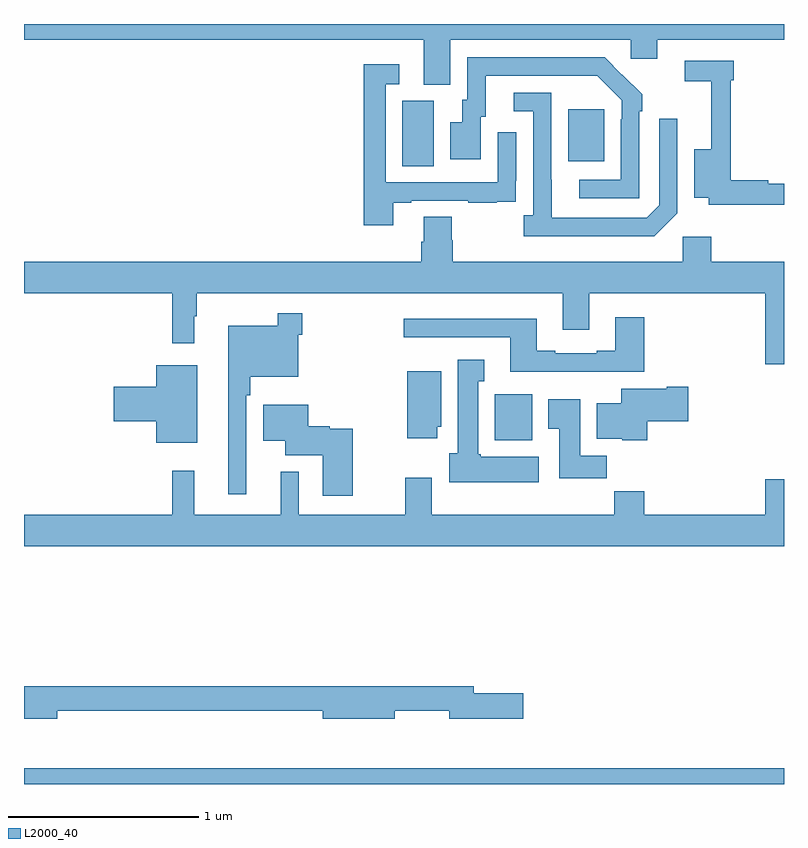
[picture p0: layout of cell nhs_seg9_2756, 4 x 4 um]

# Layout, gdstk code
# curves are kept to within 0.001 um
import gdstk
lib = gdstk.Library(unit=1e-6, precision=1e-09)
def R(c, l, rs):  # rectangles x0, y0, x1, y1
    for r in rs: c.add(gdstk.rectangle(r[:2], r[2:], *l))
def P(c, l, *ps):  # polygons
    for p in ps: c.add(gdstk.Polygon(p, *l))
L2000_40 = (2000, 40)

nhs_seg9_2756 = lib.new_cell('nhs_seg9_2756')
R(nhs_seg9_2756, L2000_40, [(269,1196.5,273,1196.584), (271.478,1198.31,271.675,1198.552), (270.992,1199.752,271.156,1200.096), (271.865,1199.777,272.053,1200.052)])
P(nhs_seg9_2756, L2000_40, [(273,1200.5),(269,1200.5),(269,1200.416),(271.103,1200.416),(271.103,1200.181),(271.243,1200.181),(271.243,1200.416),(272.193,1200.416),(272.193,1200.318),(272.332,1200.318),(272.332,1200.416),(273,1200.416)],
  [(272.238,1200.041),(272.253,1200.041),(272.253,1200.129),(272.056,1200.324),(271.332,1200.324),(271.332,1200.102),(271.307,1200.102),(271.307,1199.983),(271.244,1199.983),(271.244,1199.787),(271.405,1199.787),(271.405,1200.012),(271.429,1200.012),(271.429,1200.228),(272.017,1200.228),(272.145,1200.099),(272.145,1199.999),(272.142,1199.999),(272.142,1199.679),(271.923,1199.679),(271.923,1199.583),(272.238,1199.583)],
  [(273,1199.658),(272.918,1199.658),(272.918,1199.678),(272.72,1199.678),(272.72,1200.203),(272.735,1200.203),(272.735,1200.306),(272.478,1200.306),(272.478,1200.198),(272.618,1200.198),(272.618,1199.842),(272.528,1199.842),(272.528,1199.585),(272.604,1199.585),(272.604,1199.55),(273,1199.55)],
  [(270.943,1199.559),(271.039,1199.559),(271.039,1199.571),(271.339,1199.571),(271.339,1199.559),(271.487,1199.559),(271.487,1199.565),(271.589,1199.565),(271.589,1199.674),(271.59,1199.674),(271.59,1199.929),(271.494,1199.929),(271.494,1199.667),(270.903,1199.667),(270.903,1200.183),(270.976,1200.183),(270.976,1200.289),(270.787,1200.289),(270.787,1199.442),(270.943,1199.442)],
  [(272.439,1199.505),(272.439,1200.001),(272.343,1200.001),(272.343,1199.547),(272.277,1199.481),(271.777,1199.481),(271.776,1200.138),(271.578,1200.138),(271.578,1200.042),(271.68,1200.042),(271.68,1199.494),(271.629,1199.494),(271.629,1199.384),(272.318,1199.384)],
  [(273,1199.248),(272.618,1199.248),(272.618,1199.38),(272.466,1199.38),(272.466,1199.248),(271.256,1199.248),(271.256,1199.361),(271.251,1199.361),(271.251,1199.486),(271.103,1199.486),(271.103,1199.354),(271.091,1199.354),(271.091,1199.248),(269,1199.248),(269,1199.084),(269.779,1199.084),(269.779,1198.821),(269.896,1198.821),(269.896,1198.961),(269.908,1198.961),(269.908,1199.084),(271.835,1199.084),(271.835,1198.89),(271.975,1198.89),(271.975,1199.084),(272.9,1199.084),(272.9,1198.71),(273,1198.71)],
  [(270.171,1198.547),(270.191,1198.547),(270.191,1198.643),(270.444,1198.643),(270.444,1198.865),(270.464,1198.865),(270.464,1198.978),(270.336,1198.978),(270.336,1198.912),(270.074,1198.912),(270.074,1198.026),(270.171,1198.026)],
  [(272.264,1198.957),(272.111,1198.957),(272.111,1198.78),(272.015,1198.78),(272.015,1198.767),(271.795,1198.767),(271.795,1198.78),(271.699,1198.78),(271.699,1198.948),(270.999,1198.948),(270.999,1198.851),(271.559,1198.851),(271.559,1198.67),(272.264,1198.67)],
  [(271.708,1198.222),(271.404,1198.222),(271.404,1198.236),(271.39,1198.236),(271.39,1198.619),(271.423,1198.619),(271.423,1198.732),(271.283,1198.732),(271.283,1198.242),(271.238,1198.242),(271.238,1198.088),(271.708,1198.088)],
  [(269.911,1198.705),(269.696,1198.705),(269.696,1198.592),(269.472,1198.592),(269.472,1198.409),(269.696,1198.409),(269.696,1198.295),(269.911,1198.295)],
  [(271.174,1198.38),(271.195,1198.38),(271.195,1198.672),(271.016,1198.672),(271.016,1198.32),(271.174,1198.32)],
  [(272.279,1198.409),(272.497,1198.409),(272.497,1198.592),(272.384,1198.592),(272.384,1198.579),(272.144,1198.579),(272.144,1198.504),(272.015,1198.504),(272.015,1198.316),(272.148,1198.316),(272.148,1198.31),(272.279,1198.31)],
  [(272.066,1198.228),(271.927,1198.228),(271.927,1198.525),(271.76,1198.525),(271.76,1198.369),(271.817,1198.369),(271.817,1198.11),(272.066,1198.11)],
  [(270.73,1198.369),(270.609,1198.369),(270.609,1198.382),(270.496,1198.382),(270.496,1198.495),(270.26,1198.495),(270.26,1198.307),(270.374,1198.307),(270.374,1198.229),(270.572,1198.229),(270.572,1198.017),(270.73,1198.017)],
  [(273,1198.105),(272.9,1198.105),(272.9,1197.916),(272.264,1197.916),(272.264,1198.04),(272.107,1198.04),(272.107,1197.916),(271.147,1197.916),(271.147,1198.111),(271.007,1198.111),(271.007,1197.916),(270.447,1197.916),(270.447,1198.144),(270.35,1198.144),(270.35,1197.916),(269.897,1197.916),(269.897,1198.15),(269.779,1198.15),(269.779,1197.916),(269,1197.916),(269,1197.752),(273,1197.752)],
  [(269.176,1196.886),(270.572,1196.886),(270.572,1196.843),(270.952,1196.843),(270.952,1196.886),(271.238,1196.886),(271.238,1196.843),(271.627,1196.843),(271.627,1196.978),(271.366,1196.978),(271.366,1197.014),(269,1197.014),(269,1196.843),(269.176,1196.843)])

lib.write_gds('nhs_seg9_2756.gds')
